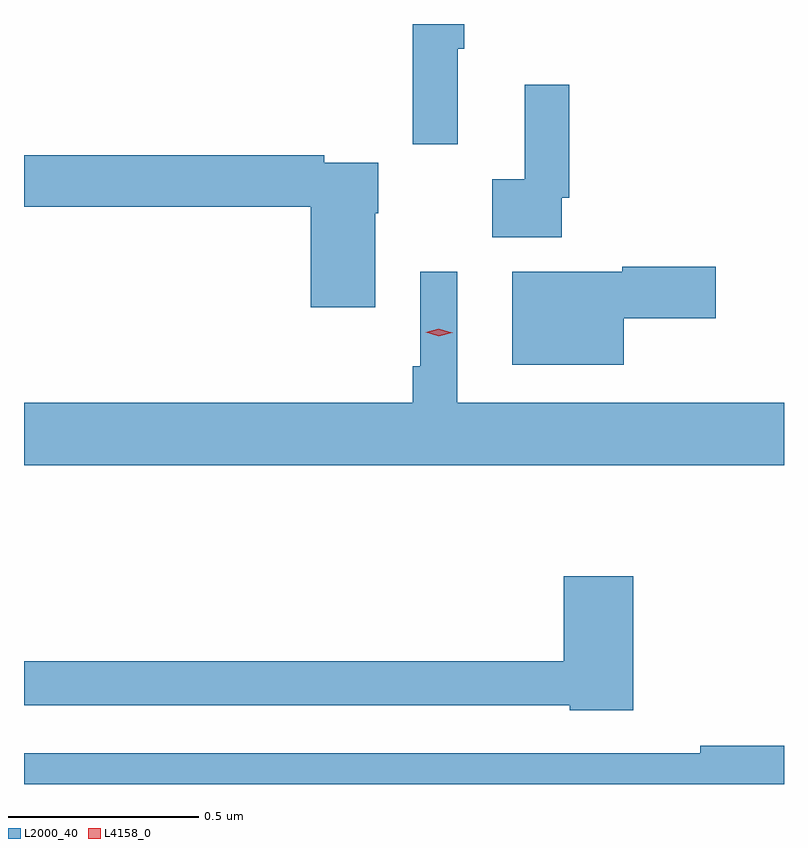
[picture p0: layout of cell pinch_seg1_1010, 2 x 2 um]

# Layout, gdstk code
import gdstk
lib = gdstk.Library(unit=1e-6, precision=1e-09)
def P(c, l, *ps):  # polygons
    for p in ps: c.add(gdstk.Polygon(p, *l))
L2000_40 = (2000, 40)
L4158_0 = (4158, 0)

pinch_seg1_1010 = lib.new_cell('pinch_seg1_1010')
P(pinch_seg1_1010, L2000_40, [(322.895,580.8),(322.913,580.8),(322.913,580.865),(322.777,580.865),(322.777,580.548),(322.895,580.548)],
  [(323.169,580.408),(323.189,580.408),(323.189,580.705),(323.072,580.705),(323.072,580.457),(322.986,580.457),(322.986,580.304),(323.169,580.304)],
  [(322.678,580.367),(322.686,580.367),(322.686,580.5),(322.544,580.5),(322.544,580.52),(321.754,580.52),(321.754,580.384),(322.508,580.384),(322.508,580.119),(322.678,580.119)],
  [(323.332,580.091),(323.575,580.091),(323.575,580.226),(323.328,580.226),(323.328,580.213),(323.039,580.213),(323.039,579.968),(323.332,579.968)],
  [(323.754,579.868),(322.894,579.868),(322.894,580.213),(322.797,580.213),(322.797,579.964),(322.777,579.964),(322.777,579.868),(321.754,579.868),(321.754,579.704),(323.754,579.704)],
  [(323.357,579.412),(323.174,579.412),(323.174,579.188),(321.754,579.188),(321.754,579.072),(323.19,579.072),(323.19,579.059),(323.357,579.059)],
  [(323.754,578.966),(323.534,578.966),(323.534,578.946),(321.754,578.946),(321.754,578.865),(323.754,578.865)])
P(pinch_seg1_1010, L4158_0, [(322.846,580.043),(322.811,580.054),(322.81,580.054),(322.811,580.054),(322.846,580.063),(322.881,580.053),(322.882,580.052),(322.881,580.052)])

lib.write_gds('pinch_seg1_1010.gds')
